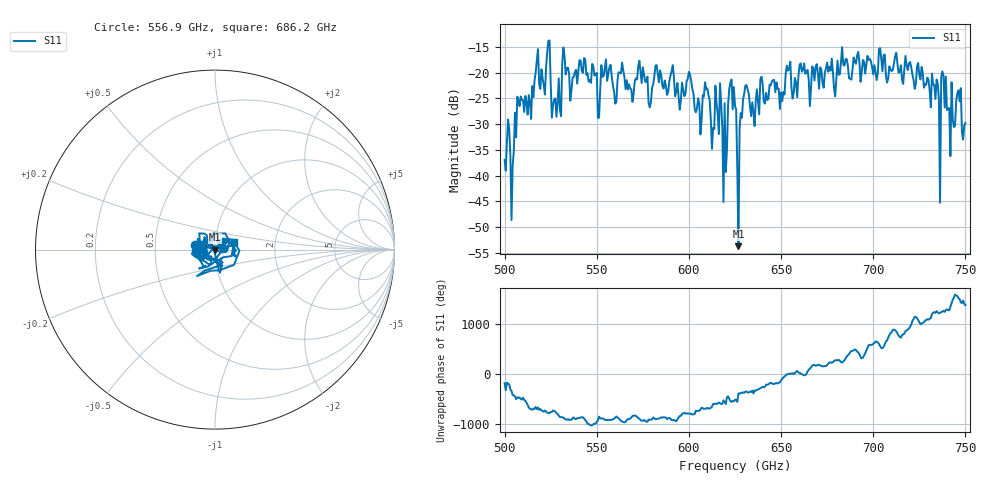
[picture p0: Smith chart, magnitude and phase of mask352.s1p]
!Created with skrf (http://scikit-rf.org).
# GHz S MA R 50.0
!freq magS11 angS11
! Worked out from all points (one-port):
!   401 points, 500 GHz to 750 GHz, reference 50 ohm
!   lowest |S11| = -53.8 dB at 626.9 GHz (marker M1), VSWR 1.00, Z = 50.2 - j0.0785 ohm
!   |S11| at or under -10 dB: start of sweep to end of sweep
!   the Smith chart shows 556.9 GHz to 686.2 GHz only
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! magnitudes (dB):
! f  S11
! 500 GHz  -37.0
! 503.8 GHz  -48.7
! 508.1 GHz  -26.5
! 513.1 GHz  -24.4
! 517.5 GHz  -17.5
! 523.8 GHz  -13.8
! 526.9 GHz  -25.2
! 531.2 GHz  -18.3
! 562.5 GHz  -20.1
! 593.8 GHz  -22.0
! 610 GHz  -23.0
! 612.5 GHz  -34.8
! 616.2 GHz  -31.9
! 619.4 GHz  -25.9
! 622.5 GHz  -21.9
! 625 GHz  -26.5
! 626.9 GHz  -53.8
! 630.6 GHz  -22.5
! 634.4 GHz  -25.7
! 656.2 GHz  -25.0
! 687.5 GHz  -21.2
! 718.8 GHz  -19.5
! 733.1 GHz  -22.4
! 735 GHz  -22.0
! 738.1 GHz  -20.6
! 743.1 GHz  -29.0
! 746.2 GHz  -23.4
! 750 GHz  -29.8
